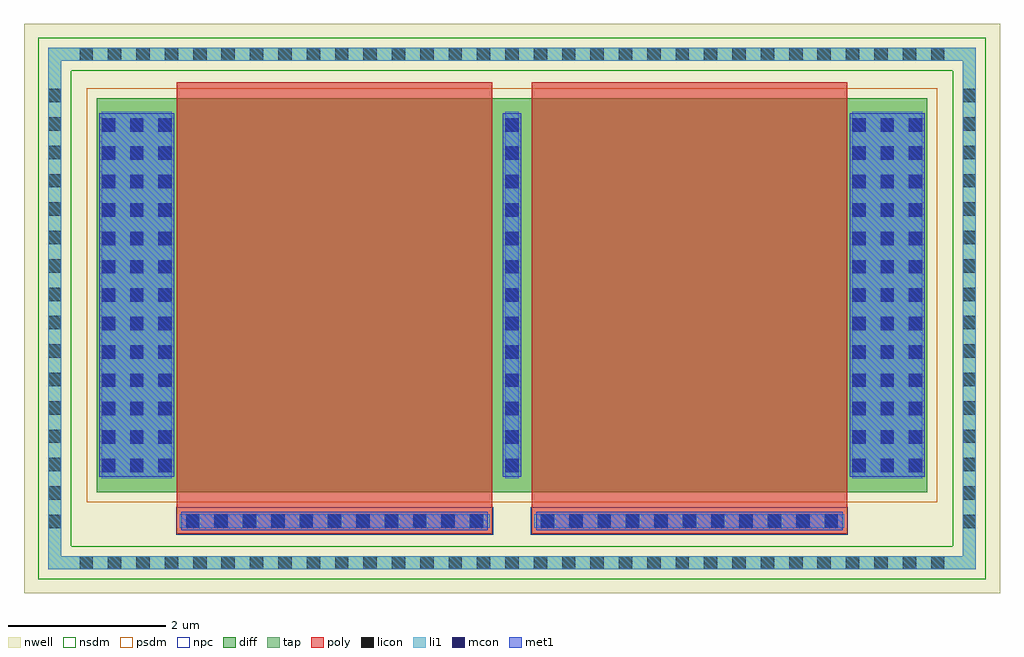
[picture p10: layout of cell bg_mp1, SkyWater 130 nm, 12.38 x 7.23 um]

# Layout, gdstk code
import gdstk
lib = gdstk.Library(unit=1e-6, precision=1e-09)
def R(c, l, rs):  # rectangles x0, y0, x1, y1
    for r in rs: c.add(gdstk.rectangle(r[:2], r[2:], *l))
def A(c, l, x, y, w, h, nx, ny, dx, dy):  # array of equal rectangles
    R(c, l, [(x+i*dx, y+j*dy, x+i*dx+w, y+j*dy+h) for i in range(nx) for j in range(ny)])
def P(c, l, *ps):  # polygons
    for p in ps: c.add(gdstk.Polygon(p, *l))
nwell = (64, 20)
diff = (65, 20)
tap = (65, 44)
poly = (66, 20)
licon = (66, 44)
li1 = (67, 20)
mcon = (67, 44)
met1 = (68, 20)
nsdm = (93, 44)
psdm = (94, 20)
npc = (95, 20)

bg_mp1 = lib.new_cell('bg_mp1')
R(bg_mp1, nwell, [(-0.92,-1.285,11.46,5.945)])
R(bg_mp1, diff, [(0,0,10.54,5)])
P(bg_mp1, tap, [(-0.615,-0.98),(-0.615,5.47),(-0.445,5.47),(-0.445,-0.81),(10.985,-0.81),(10.985,5.47),(-0.615,5.47),(-0.615,5.64),(11.155,5.64),(11.155,-0.98)])
R(bg_mp1, poly, [(1.02,-0.53,5.02,-0.2), (5.52,-0.53,9.52,-0.2), (1.02,-0.2,5.02,5.2), (5.52,-0.2,9.52,5.2)])
A(bg_mp1, licon, -0.215, -0.98, 0.17, 0.17, 31, 2, 0.36, 6.45)
A(bg_mp1, licon, -0.615, -0.455, 0.17, 0.17, 1, 16, 0, 0.36)
A(bg_mp1, licon, 10.985, -0.455, 0.17, 0.17, 1, 16, 0, 0.36)
A(bg_mp1, licon, 1.135, -0.45, 0.17, 0.17, 11, 1, 0.36, 0)
A(bg_mp1, licon, 5.635, -0.45, 0.17, 0.17, 11, 1, 0.36, 0)
A(bg_mp1, licon, 0.065, 0.255, 0.17, 0.17, 3, 13, 0.36, 0.36)
A(bg_mp1, licon, 5.185, 0.255, 0.17, 0.17, 1, 13, 0, 0.36)
A(bg_mp1, licon, 9.585, 0.255, 0.17, 0.17, 3, 13, 0.36, 0.36)
R(bg_mp1, li1, [(1.055,-0.45,4.985,-0.28), (5.555,-0.45,9.485,-0.28), (0.065,0.175,0.955,4.825), (5.185,0.175,5.355,4.825), (9.585,0.175,10.475,4.825)])
P(bg_mp1, li1, [(-0.615,-0.98),(-0.615,5.47),(-0.445,5.47),(-0.445,-0.81),(10.985,-0.81),(10.985,5.47),(-0.615,5.47),(-0.615,5.64),(11.155,5.64),(11.155,-0.98)])
A(bg_mp1, mcon, 1.135, -0.45, 0.17, 0.17, 11, 1, 0.36, 0)
A(bg_mp1, mcon, 5.635, -0.45, 0.17, 0.17, 11, 1, 0.36, 0)
A(bg_mp1, mcon, 0.065, 0.255, 0.17, 0.17, 3, 13, 0.36, 0.36)
A(bg_mp1, mcon, 5.185, 0.255, 0.17, 0.17, 1, 13, 0, 0.36)
A(bg_mp1, mcon, 9.585, 0.255, 0.17, 0.17, 3, 13, 0.36, 0.36)
R(bg_mp1, met1, [(1.075,-0.48,4.965,-0.25), (5.575,-0.48,9.465,-0.25), (0.035,0.195,0.985,4.805), (5.155,0.195,5.385,4.805), (9.555,0.195,10.505,4.805)])
P(bg_mp1, nsdm, [(-0.74,-1.105),(-0.74,5.345),(-0.32,5.345),(-0.32,-0.685),(10.86,-0.685),(10.86,5.345),(-0.74,5.345),(-0.74,5.765),(11.28,5.765),(11.28,-1.105)])
R(bg_mp1, psdm, [(-0.125,-0.125,10.665,5.125)])
R(bg_mp1, npc, [(1.01,-0.54,5.03,-0.19), (5.51,-0.54,9.53,-0.19)])

lib.write_gds('bg_mp1.gds')
